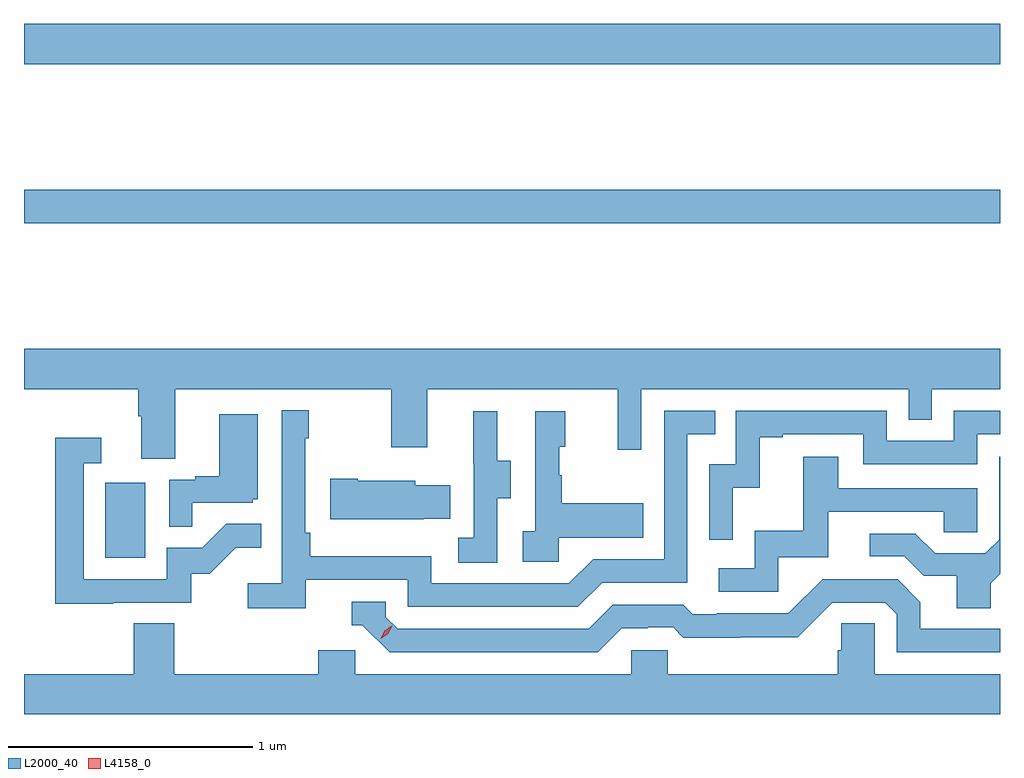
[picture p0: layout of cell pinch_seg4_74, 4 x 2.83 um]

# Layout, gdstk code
import gdstk
lib = gdstk.Library(unit=1e-6, precision=1e-09)
def R(c, l, rs):  # rectangles x0, y0, x1, y1
    for r in rs: c.add(gdstk.rectangle(r[:2], r[2:], *l))
def P(c, l, *ps):  # polygons
    for p in ps: c.add(gdstk.Polygon(p, *l))
L2000_40 = (2000, 40)
L4158_0 = (4158, 0)

pinch_seg4_74 = lib.new_cell('pinch_seg4_74')
R(pinch_seg4_74, L2000_40, [(1057.982,829.428,1058.146,829.735), (1057.649,830.8,1061.649,830.936), (1057.649,831.452,1061.649,831.616)])
P(pinch_seg4_74, L2000_40, [(1058.269,830.12),(1059.154,830.12),(1059.154,829.881),(1059.301,829.881),(1059.301,830.12),(1060.082,830.12),(1060.082,829.872),(1060.179,829.872),(1060.179,830.12),(1061.274,830.12),(1061.274,829.993),(1061.37,829.993),(1061.37,830.12),(1061.649,830.12),(1061.649,830.284),(1057.649,830.284),(1057.649,830.12),(1058.117,830.12),(1058.117,830.008),(1058.129,830.008),(1058.129,829.834),(1058.269,829.834)],
  [(1058.804,829.338),(1059.222,829.338),(1059.222,829.227),(1059.919,829.227),(1060.018,829.326),(1060.368,829.326),(1060.368,829.935),(1060.481,829.935),(1060.481,830.031),(1060.272,830.031),(1060.272,829.422),(1059.981,829.422),(1059.882,829.323),(1059.318,829.323),(1059.318,829.435),(1058.822,829.435),(1058.822,829.531),(1058.802,829.531),(1058.802,829.919),(1058.815,829.919),(1058.815,830.032),(1058.706,830.032),(1058.706,829.324),(1058.565,829.324),(1058.565,829.222),(1058.804,829.222)],
  [(1060.554,829.715),(1060.664,829.715),(1060.664,829.923),(1060.759,829.923),(1060.759,829.935),(1061.088,829.935),(1061.088,829.812),(1061.556,829.812),(1061.556,829.935),(1061.649,829.935),(1061.649,830.031),(1061.46,830.031),(1061.46,829.908),(1061.184,829.908),(1061.184,830.031),(1060.566,830.031),(1060.566,829.812),(1060.458,829.812),(1060.458,829.503),(1060.554,829.503)],
  [(1059.588,829.672),(1059.643,829.672),(1059.643,829.827),(1059.589,829.827),(1059.589,830.029),(1059.491,830.029),(1059.491,829.815),(1059.492,829.815),(1059.492,829.511),(1059.429,829.511),(1059.429,829.408),(1059.588,829.408)],
  [(1059.84,829.511),(1060.187,829.511),(1060.187,829.651),(1059.853,829.651),(1059.853,829.766),(1059.843,829.766),(1059.843,829.884),(1059.868,829.884),(1059.868,830.029),(1059.744,830.029),(1059.744,829.538),(1059.693,829.538),(1059.693,829.413),(1059.84,829.413)],
  [(1058.339,829.653),(1058.586,829.653),(1058.586,829.668),(1058.608,829.668),(1058.608,830.017),(1058.45,830.017),(1058.45,829.762),(1058.351,829.762),(1058.351,829.749),(1058.244,829.749),(1058.244,829.555),(1058.339,829.555)],
  [(1058.015,829.245),(1058.334,829.245),(1058.334,829.362),(1058.41,829.362),(1058.517,829.469),(1058.621,829.469),(1058.621,829.568),(1058.477,829.568),(1058.379,829.47),(1058.235,829.47),(1058.235,829.341),(1057.893,829.341),(1057.893,829.815),(1057.966,829.815),(1057.966,829.921),(1057.777,829.921),(1057.777,829.24),(1058.015,829.24)],
  [(1060.74,829.431),(1060.945,829.431),(1060.945,829.617),(1061.419,829.617),(1061.419,829.533),(1061.556,829.533),(1061.556,829.713),(1060.987,829.713),(1060.987,829.843),(1060.843,829.843),(1060.843,829.54),(1060.644,829.54),(1060.644,829.386),(1060.497,829.386),(1060.497,829.29),(1060.74,829.29)],
  [(1061.611,829.324),(1061.649,829.362),(1061.649,829.843),(1061.646,829.843),(1061.646,829.503),(1061.589,829.446),(1061.383,829.446),(1061.302,829.527),(1061.115,829.527),(1061.115,829.434),(1061.256,829.434),(1061.336,829.354),(1061.471,829.354),(1061.471,829.222),(1061.611,829.222)],
  [(1059.287,829.589),(1059.395,829.589),(1059.395,829.726),(1059.252,829.726),(1059.252,829.744),(1059.016,829.744),(1059.016,829.752),(1058.904,829.752),(1058.904,829.586),(1059.287,829.586)],
  [(1060.099,829.14),(1060.206,829.14),(1060.206,829.143),(1060.309,829.143),(1060.351,829.101),(1060.584,829.101),(1060.584,829.103),(1060.82,829.103),(1060.962,829.245),(1061.178,829.245),(1061.226,829.197),(1061.226,829.041),(1061.649,829.041),(1061.649,829.137),(1061.323,829.137),(1061.323,829.247),(1061.229,829.341),(1060.923,829.341),(1060.782,829.2),(1060.489,829.2),(1060.489,829.197),(1060.39,829.197),(1060.351,829.236),(1060.062,829.236),(1059.963,829.137),(1059.18,829.137),(1059.132,829.185),(1059.132,829.248),(1058.993,829.248),(1058.993,829.152),(1059.036,829.152),(1059.147,829.041),(1060,829.041)],
  [(1061.649,828.952),(1061.136,828.952),(1061.136,829.16),(1060.999,829.16),(1060.999,829.05),(1060.985,829.05),(1060.985,828.952),(1060.287,828.952),(1060.287,829.05),(1060.137,829.05),(1060.137,828.952),(1059.006,828.952),(1059.006,829.05),(1058.855,829.05),(1058.855,828.952),(1058.264,828.952),(1058.264,829.16),(1058.099,829.16),(1058.099,828.952),(1057.649,828.952),(1057.649,828.788),(1061.649,828.788)])
P(pinch_seg4_74, L4158_0, [(1059.111,829.097),(1059.111,829.098),(1059.127,829.13),(1059.157,829.149),(1059.158,829.149),(1059.158,829.149),(1059.142,829.117),(1059.111,829.097)])

lib.write_gds('pinch_seg4_74.gds')
